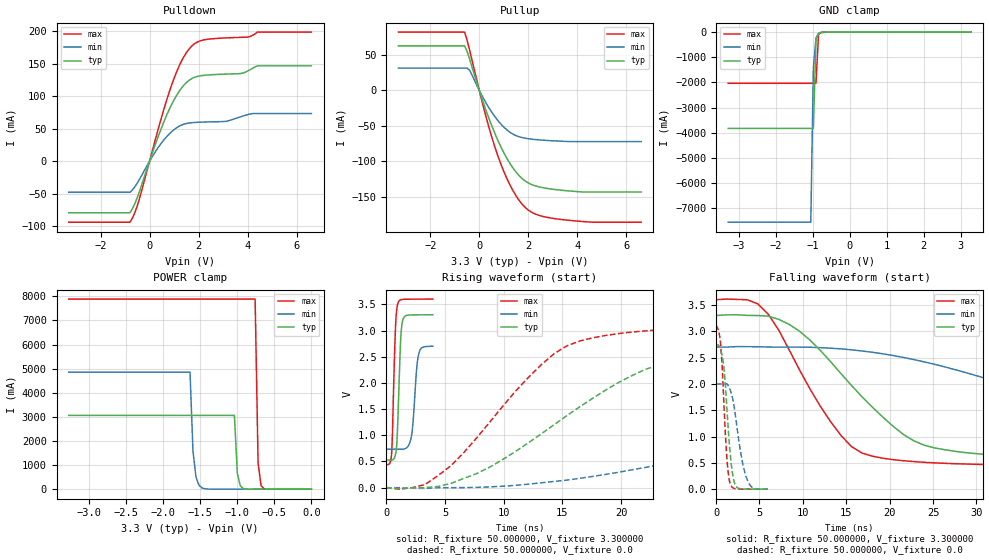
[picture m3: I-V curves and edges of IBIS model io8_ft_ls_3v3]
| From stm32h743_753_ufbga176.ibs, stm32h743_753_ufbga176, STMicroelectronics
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|   Model io8_ft_ls_3v3
[Model]  io8_ft_ls_3v3
Model_type I/O
Polarity   Non-Inverting
Enable   Active-Low
Vinl =   0.990000V
Vinh =   2.310000V
Vmeas =  1.650000V
Cref =   30.000000pF
Rref =   100.000000M
Vref =   0.0V
C_comp   3.322900pF   3.276700pF   3.383400pF
[Temperature Range]   25.000000   0.140000k   -40.000000
[Pullup Reference]   3.300000V   2.700000V   3.600000V
[Pulldown Reference]   0.0V   0.0V   0.0V
[POWER Clamp Reference]   3.300000V   2.700000V   3.600000V
[GND Clamp Reference]   0.0V   0.0V   0.0V
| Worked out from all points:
|   slope of the pulldown table from 0 to 0.495 V, typ, clamps not added: 9.48 ohm
|   slope of the pullup table from 0 to 0.495 V, typ, clamps not added: 10.2 ohm
|   GND clamp passes 1 mA (typ) near -0.48 V on its own axis
|   POWER clamp passes 1 mA (typ) near -0.83 V on its own axis
|   rising waveform, R_fixture 50.000000, V_fixture 3.300000: 20-80 % time 260ps typ, 376ps min, 240ps max; typ from 0.529 V to 3.3 V
|   rising waveform, R_fixture 50.000000, V_fixture 0.0: 20-80 % time 11.4ns typ, 26.8ns min, 7.57ns max; typ from 0 V to 2.74 V
|   falling waveform, R_fixture 50.000000, V_fixture 3.300000: 20-80 % time 9.9ns typ, 24.3ns min, 6.74ns max; typ from 3.3 V to 0.529 V
|   falling waveform, R_fixture 50.000000, V_fixture 0.0: 20-80 % time 738ps typ, 1.14ns min, 594ps max; typ from 2.74 V to 0 V
[Pulldown]
|Voltage   I(typ)   I(min)   I(max)
-3.3V     -79.52mA   -47.96mA   -94.07mA
-800mV    -79.52mA   -47.96mA   -94.07mA
-500mV    -56.24mA   -33.72mA   -68.67mA
300mV     32.59mA    18.22mA    42.24mA
900mV     87.38mA    45.47mA    117.3mA
1.4V      117.2mA    57.03mA    161.1mA
1.8V      128.8mA    59.57mA    180.1mA
2.3V      132.6mA    60.4mA     187.6mA
3.1V      134.2mA    61.41mA    190mA
3.7V      135mA      68.23mA    190.9mA
4.4V      147mA      73.45mA    199mA
6.6V      147mA      73.45mA    199mA
[Pullup]
|Voltage   I(typ)   I(min)   I(max)
-3.3V     62.95mA    31.64mA    82.46mA
-600mV    62.95mA    31.64mA    82.46mA
-400mV    44.98mA    28.62mA    57.55mA
300mV     -30.67mA   -19.18mA   -40.53mA
800mV     -73.78mA   -44.26mA   -96.47mA
1.1V      -94.36mA   -54.94mA   -122.4mA
1.4V      -110.8mA   -62.14mA   -143mA
1.7V      -122.9mA   -66.13mA   -158.7mA
2V        -130.6mA   -68.14mA   -168.9mA
2.5V      -136.6mA   -69.93mA   -177mA
3.5V      -141.4mA   -71.9mA    -182.8mA
6.6V      -143.3mA   -72.2mA    -186mA
[GND_clamp]
|Voltage   I(typ)   I(min)   I(max)
-3.3V     -3.828A    -7.552A    -2.036A
-1.06V    -3.828A    -7.552A    -2.036A
-990mV    -3.828A    -1.425A    -2.036A
-920mV    -368.6mA   -243.1mA   -2.036A
-850mV    -40.93mA   -46.27mA   -98.44mA
-780mV    -13.14mA   -14.53mA   -15.81mA
-500mV    -1.208mA   -1.769mA   -1.059mA
3.28V     0A         -16.27nA   0A
[POWER_clamp]
|Voltage   I(typ)   I(min)   I(max)
-3.28V    3.058A     4.852A     7.885A
-1.64V    3.058A     4.852A     7.885A
-1.6V     3.058A     1.577A     7.885A
-1.56V    3.058A     512.9mA    7.885A
-1.52V    3.058A     166.8mA    7.885A
-1.04V    3.058A     548.3nA    7.885A
-1V       644.7mA    387.3nA    7.885A
-960mV    135.9mA    332.4nA    7.885A
-760mV    56.56uA    289.2nA    7.885A
-720mV    11.92uA    285.5nA    1.077A
-680mV    2.515uA    281.9nA    147.1mA
0V        0A         47.97nA    0A
[Ramp]
| variable   typ   min   max
dV/dt_r  1.64178/11.39701n   1.18848/26.80583n   1.87242/7.52238n
dV/dt_f  1.66256/9.84866n   1.16105/24.30937n   1.88849/6.70434n
R_load = 50.000000
[Rising Waveform]
R_fixture= 50.000000
V_fixture= 3.300000
V_fixture_min= 2.700000
V_fixture_max= 3.600000
|time   V(typ)   V(min)   V(max)
0s        528.6mV    734.3mV    447mV
440.4ps   525.9mV    734.3mV    613.9mV
760.8ps   613.5mV    734.4mV    2.921V
961ps     1.143V     734.3mV    3.495V
1.201ns   2.711V     733.1mV    3.583V
1.401ns   3.196V     733.7mV    3.594V
2.162ns   3.297V     1.01V      3.598V
2.603ns   3.299V     2.305V     3.599V
2.803ns   3.299V     2.584V     3.599V
3.964ns   3.3V       2.7V       3.6V
[Rising Waveform]
R_fixture= 50.000000
V_fixture= 0.0
V_fixture_min= 0.0
V_fixture_max= 0.0
|time   V(typ)   V(min)   V(max)
0s        -6.029uV   624.4nV    264.9uV
3.303ns   680.1uV    -13.89mV   59.64mV
7.708ns   270.5mV    5.828mV    953.3mV
14.31ns   1.205V     119.8mV    2.56V
19.82ns   2.013V     296.1mV    2.942V
23.12ns   2.337V     432.6mV    3.011V
28.63ns   2.541V     687.8mV    3.069V
53.95ns   2.719V     1.723V     3.115V
74.87ns   2.733V     1.926V     3.117V
109ns     2.736V     1.999V     3.117V
[Falling Waveform]
R_fixture= 50.000000
V_fixture= 3.300000
V_fixture_min= 2.700000
V_fixture_max= 3.600000
|time   V(typ)   V(min)   V(max)
0s        3.3V       2.7V       3.6V
4.805ns   3.3V       2.707V     3.522V
8.408ns   3.133V     2.7V       2.652V
14.41ns   2.191V     2.666V     1.016V
19.22ns   1.368V     2.572V     588mV
22.82ns   915.4mV    2.462V     523.9mV
27.63ns   716.6mV    2.267V     483mV
46.85ns   565.5mV    1.285V     446.9mV
55.26ns   548.8mV    1.027V     445.9mV
118.9ns   528.6mV    734.3mV    447mV
[Falling Waveform]
R_fixture= 50.000000
V_fixture= 0.0
V_fixture_min= 0.0
V_fixture_max= 0.0
|time   V(typ)   V(min)   V(max)
0s        2.736V     1.999V     3.117V
480.5ps   2.674V     1.999V     2.835V
840.8ps   2.398V     2V         1.862V
1.261ns   1.507V     1.999V     567.5mV
1.622ns   692.3mV    1.889V     110.7mV
1.922ns   274mV      1.711V     28.82mV
2.222ns   78.2mV     1.416V     9.426mV
2.943ns   5.066mV    598.2mV    2.178mV
3.604ns   1.306mV    174.9mV    1.284mV
5.946ns   -6.029uV   624.4nV    264.9uV
